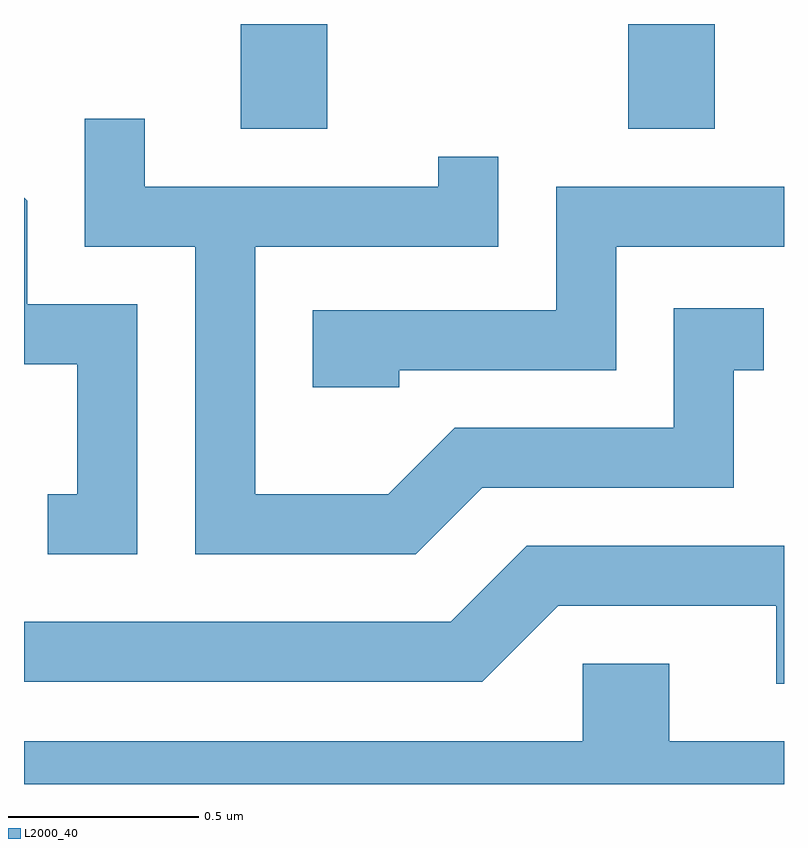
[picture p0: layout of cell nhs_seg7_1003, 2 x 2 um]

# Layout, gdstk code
import gdstk
lib = gdstk.Library(unit=1e-6, precision=1e-09)
def R(c, l, rs):  # rectangles x0, y0, x1, y1
    for r in rs: c.add(gdstk.rectangle(r[:2], r[2:], *l))
def P(c, l, *ps):  # polygons
    for p in ps: c.add(gdstk.Polygon(p, *l))
L2000_40 = (2000, 40)

nhs_seg7_1003 = lib.new_cell('nhs_seg7_1003')
R(nhs_seg7_1003, L2000_40, [(193.181,1713.976,193.409,1714.252), (194.201,1713.976,194.429,1714.252)])
P(nhs_seg7_1003, L2000_40, [(193.817,1713.031),(194.479,1713.031),(194.479,1713.341),(194.558,1713.341),(194.558,1713.504),(194.321,1713.504),(194.321,1713.189),(193.744,1713.189),(193.569,1713.014),(193.219,1713.014),(193.219,1713.666),(193.859,1713.666),(193.859,1713.903),(193.701,1713.903),(193.701,1713.824),(192.929,1713.824),(192.929,1714.003),(192.771,1714.003),(192.771,1713.666),(193.061,1713.666),(193.061,1712.856),(193.642,1712.856)],
  [(193.599,1713.341),(194.169,1713.341),(194.169,1713.666),(194.611,1713.666),(194.611,1713.824),(194.011,1713.824),(194.011,1713.499),(193.371,1713.499),(193.371,1713.296),(193.599,1713.296)],
  [(192.909,1713.514),(192.619,1713.514),(192.619,1713.787),(192.611,1713.795),(192.611,1713.356),(192.751,1713.356),(192.751,1713.014),(192.673,1713.014),(192.673,1712.856),(192.909,1712.856)],
  [(194.611,1712.879),(193.934,1712.879),(193.734,1712.679),(192.611,1712.679),(192.611,1712.521),(193.817,1712.521),(194.017,1712.721),(194.591,1712.721),(194.591,1712.516),(194.611,1712.516)],
  [(194.611,1712.364),(194.309,1712.364),(194.309,1712.569),(194.081,1712.569),(194.081,1712.364),(192.611,1712.364),(192.611,1712.252),(194.611,1712.252)])

lib.write_gds('nhs_seg7_1003.gds')
